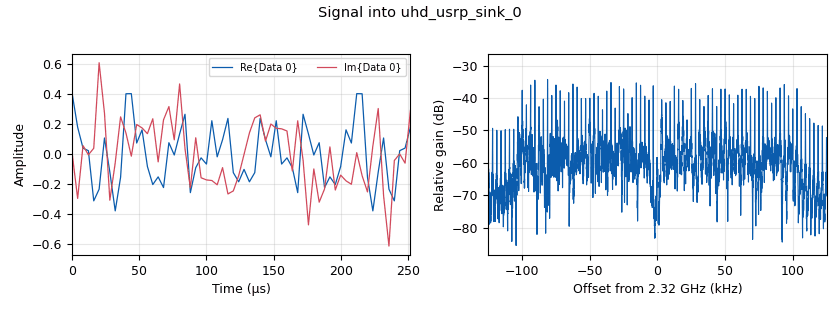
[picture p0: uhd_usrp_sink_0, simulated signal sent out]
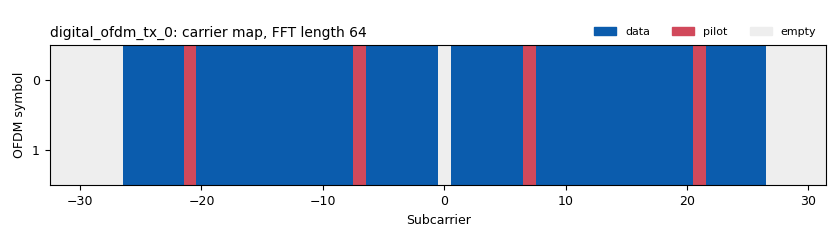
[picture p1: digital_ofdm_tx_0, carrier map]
<?xml version='1.0' encoding='utf-8'?>
<?grc format='1' created='3.7.5'?>
<flow_graph>
<block>
<key>options</key>
<param><key>id</key><value>rx_ofdm</value></param>
<param><key>title</key><value>OFDM Rx</value></param>
<param><key>description</key><value>Example of an OFDM receiver</value></param>
<param><key>generate_options</key><value>qt_gui</value></param>
<param><key>category</key><value>Custom</value></param>
</block>
<block>
<key>variable</key>
<param><key>id</key><value>sync_word1</value></param>
<param><key>value</key><value>[0., 0., 0., 0., 0., 0., 0., 1.41421356, 0., -1.41421356, 0., 1.41421356, 0., -1.41421356, 0., -1.41421356, 0., -1.41421356, 0., 1.41421356, 0., -1.41421356, 0., 1.41421356, 0., -1.41421356, 0., -1.41421356, 0., -1.41421356, 0., -1.41421356, 0., 1.41421356, 0., -1.41421356, 0., 1.41421356, 0., 1.41421356, 0., 1.41421356, 0., -1.41421356, 0., 1.41421356, 0., 1.41421356, 0., 1.41421356, 0., -1.41421356, 0., 1.41421356, 0., 1.41421356, 0., 1.41421356, 0., 0., 0., 0., 0., 0.]</value></param>
</block>
<block>
<key>variable</key>
<param><key>id</key><value>length_tag_key</value></param>
<param><key>value</key><value>"frame_len"</value></param>
</block>
<block>
<key>variable</key>
<param><key>id</key><value>fft_len</value></param>
<param><key>value</key><value>64</value></param>
</block>
<block>
<key>variable</key>
<param><key>id</key><value>packet_length_tag_key</value></param>
<param><key>value</key><value>"packet_len"</value></param>
</block>
<block>
<key>variable</key>
<param><key>id</key><value>samp_rate</value></param>
<param><key>value</key><value>500000</value></param>
</block>
<block>
<key>variable</key>
<param><key>id</key><value>packet_len</value></param>
<param><key>value</key><value>96</value></param>
</block>
<block>
<key>variable</key>
<param><key>id</key><value>pilot_symbols</value></param>
<param><key>value</key><value>((1, 1, 1, -1,),)</value></param>
</block>
<block>
<key>variable</key>
<param><key>id</key><value>sync_word2</value></param>
<param><key>value</key><value>[0j, 0j, 0j, 0j, 0j, 0j, (-1+0j), (-1+0j), (-1+0j), (-1+0j), (1+0j), (1+0j), (-1+0j), (-1+0j), (-1+0j), (1+0j), (-1+0j), (1+0j), (1+0j), (1 +0j), (1+0j), (1+0j), (-1+0j), (-1+0j), (-1+0j), (-1+0j), (-1+0j), (1+0j), (-1+0j), (-1+0j), (1+0j), (-1+0j), 0j, (1+0j), (-1+0j), (1+0j), (1+0j), (1+0j), (-1+0j), (1+0j), (1+0j), (1+0j), (-1+0j), (1+0j), (1+0j), (1+0j), (1+0j), (-1+0j), (1+0j), (-1+0j), (-1+0j), (-1+0j), (1+0j), (-1+0j), (1+0j), (-1+0j), (-1+0j), (-1+0j), (-1+0j), 0j, 0j, 0j, 0j, 0j]</value></param>
</block>
<block>
<key>variable</key>
<param><key>id</key><value>pilot_carriers</value></param>
<param><key>value</key><value>((-21, -7, 7, 21,),)</value></param>
</block>
<block>
<key>variable</key>
<param><key>id</key><value>occupied_carriers</value></param>
<param><key>value</key><value>(range(-26, -21) + range(-20, -7) + range(-6, 0) + range(1, 7) + range(8, 21) + range(22, 27),)</value></param>
</block>
<block>
<key>import</key>
<param><key>id</key><value>import_1</value></param>
<param><key>import</key><value>from gnuradio.digital.utils import tagged_streams</value></param>
</block>
<block>
<key>blocks_multiply_const_vxx</key>
<param><key>id</key><value>blocks_multiply_const_vxx_0</value></param>
<param><key>type</key><value>complex</value></param>
<param><key>const</key><value>0.05</value></param>
</block>
<block>
<key>blocks_file_sink</key>
<param><key>id</key><value>blocks_file_sink_0</value></param>
<param><key>_enabled</key><value>False</value></param>
<param><key>file</key><value>/home/sinc101/Desktop/txfile</value></param>
<param><key>type</key><value>complex</value></param>
</block>
<block>
<key>analog_random_source_x</key>
<param><key>id</key><value>analog_random_source_x_0</value></param>
<param><key>_enabled</key><value>0</value></param>
<param><key>type</key><value>byte</value></param>
<param><key>min</key><value>0</value></param>
<param><key>max</key><value>255</value></param>
<param><key>num_samps</key><value>1000</value></param>
<param><key>repeat</key><value>True</value></param>
</block>
<block>
<key>analog_sig_source_x</key>
<param><key>id</key><value>analog_sig_source_x_0</value></param>
<param><key>_enabled</key><value>False</value></param>
<param><key>type</key><value>complex</value></param>
<param><key>samp_rate</key><value>samp_rate</value></param>
<param><key>waveform</key><value>analog.GR_COS_WAVE</value></param>
<param><key>freq</key><value>1</value></param>
<param><key>amp</key><value>1</value></param>
<param><key>offset</key><value>0</value></param>
</block>
<block>
<key>blocks_stream_to_tagged_stream</key>
<param><key>id</key><value>blocks_stream_to_tagged_stream_0</value></param>
<param><key>type</key><value>byte</value></param>
<param><key>packet_len</key><value>packet_len</value></param>
<param><key>len_tag_key</key><value>packet_length_tag_key</value></param>
</block>
<block>
<key>blocks_vector_source_x</key>
<param><key>id</key><value>blocks_vector_source_x_0</value></param>
<param><key>type</key><value>byte</value></param>
<param><key>vector</key><value>(1,0)</value></param>
<param><key>repeat</key><value>True</value></param>
</block>
<block>
<key>digital_ofdm_tx</key>
<param><key>id</key><value>digital_ofdm_tx_0</value></param>
<param><key>fft_len</key><value>fft_len</value></param>
<param><key>cp_len</key><value>fft_len/4</value></param>
<param><key>packet_len_key</key><value>packet_length_tag_key</value></param>
<param><key>occupied_carriers</key><value>occupied_carriers</value></param>
<param><key>pilot_carriers</key><value>pilot_carriers</value></param>
<param><key>pilot_symbols</key><value>pilot_symbols</value></param>
<param><key>sync_word1</key><value>sync_word1</value></param>
<param><key>sync_word2</key><value>sync_word2</value></param>
<param><key>header_mod</key><value>"BPSK"</value></param>
<param><key>payload_mod</key><value>"BPSK"</value></param>
<param><key>rolloff</key><value>0</value></param>
<param><key>log</key><value>True</value></param>
</block>
<block>
<key>uhd_usrp_sink</key>
<param><key>id</key><value>uhd_usrp_sink_0</value></param>
<param><key>type</key><value>fc32</value></param>
<param><key>dev_args</key><value>""</value></param>
<param><key>sync</key><value></value></param>
<param><key>clock_rate</key><value>0.0</value></param>
<param><key>sd_spec0</key><value>A:A</value></param>
<param><key>samp_rate</key><value>4e6/16</value></param>
<param><key>center_freq0</key><value>2.32e9</value></param>
<param><key>gain0</key><value>60</value></param>
<param><key>ant0</key><value>TX/RX</value></param>
<param><key>bw0</key><value>4e6/16</value></param>
<param><key>len_tag_name</key><value></value></param>
</block>
<connection><source_block_id>blocks_multiply_const_vxx_0</source_block_id><sink_block_id>uhd_usrp_sink_0</sink_block_id><source_key>0</source_key><sink_key>0</sink_key></connection>
<connection><source_block_id>blocks_multiply_const_vxx_0</source_block_id><sink_block_id>blocks_file_sink_0</sink_block_id><source_key>0</source_key><sink_key>0</sink_key></connection>
<connection><source_block_id>analog_sig_source_x_0</source_block_id><sink_block_id>blocks_multiply_const_vxx_0</sink_block_id><source_key>0</source_key><sink_key>0</sink_key></connection>
<connection><source_block_id>digital_ofdm_tx_0</source_block_id><sink_block_id>blocks_multiply_const_vxx_0</sink_block_id><source_key>0</source_key><sink_key>0</sink_key></connection>
<connection><source_block_id>analog_random_source_x_0</source_block_id><sink_block_id>blocks_stream_to_tagged_stream_0</sink_block_id><source_key>0</source_key><sink_key>0</sink_key></connection>
<connection><source_block_id>blocks_stream_to_tagged_stream_0</source_block_id><sink_block_id>digital_ofdm_tx_0</sink_block_id><source_key>0</source_key><sink_key>0</sink_key></connection>
<connection><source_block_id>blocks_vector_source_x_0</source_block_id><sink_block_id>blocks_stream_to_tagged_stream_0</sink_block_id><source_key>0</source_key><sink_key>0</sink_key></connection>
</flow_graph>
